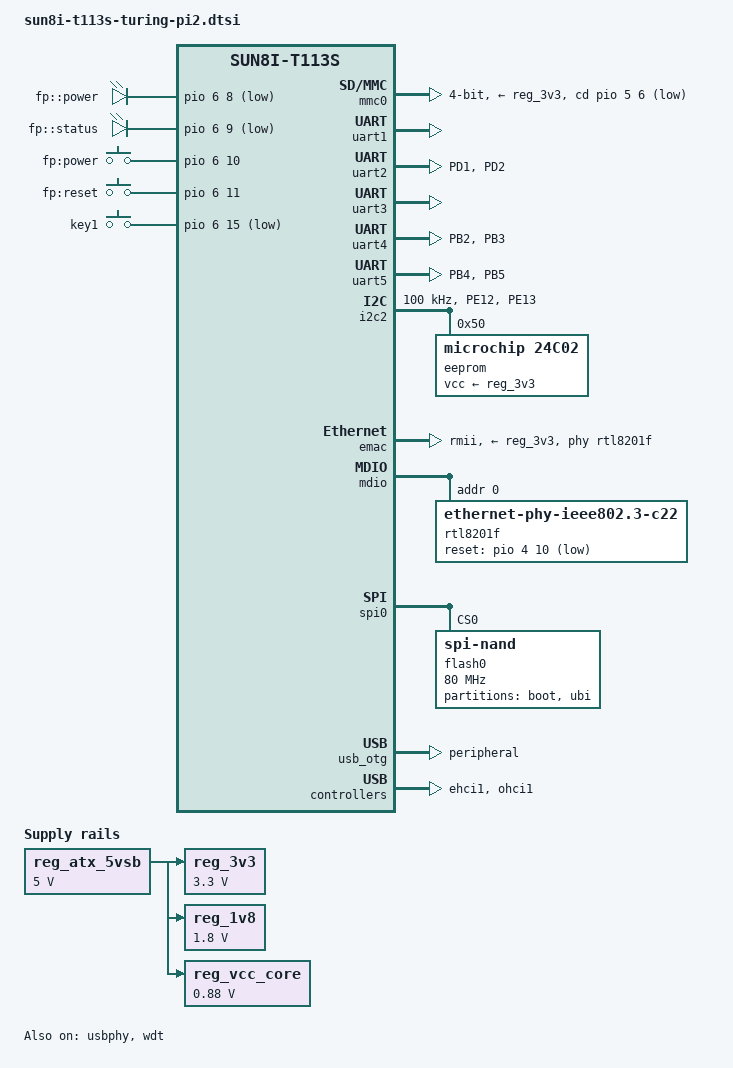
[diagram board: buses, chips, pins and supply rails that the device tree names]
// SPDX-License-Identifier: GPL-2.0+
// Copyright (C) 2023-2024 Sam Edwards <CFSworks@gmail.com>

/dts-v1/;

#ifdef __ASSEMBLY__
#define IS_UBOOT
#endif

#ifdef IS_UBOOT
#include "sun8i-t113s.dtsi"
#else
#include "allwinner/sun8i-t113s.dtsi"
#endif
#include <dt-bindings/gpio/gpio.h>
#include <dt-bindings/input/input.h>

/ {
	compatible = "turing,pi2", "allwinner,sun8i-t113s";

	aliases {
		ethernet0 = &emac;
		serial0 = &uart3;
		serial1 = &uart2;
		serial2 = &uart1;
		serial3 = &uart4;
		serial4 = &uart5;
		flash0 = &flash0;
	};

	// The LEDs are actually GPIO lines that go to the front-panel LEDs.
	leds {
		compatible = "gpio-leds";

		led-0 {
			label = "fp::power";
			gpios = <&pio 6 8 GPIO_ACTIVE_LOW>; /* PG8 */
		};

		led-1 {
			label = "fp::status";
			gpios = <&pio 6 9 GPIO_ACTIVE_LOW>; /* PG9 */
		};
	};

	keys {
		compatible = "gpio-keys";

		// Part of the front-panel connector
		button-power {
			label = "fp:power";
			linux,code = <KEY_POWER>;
			gpios = <&pio 6 10 GPIO_ACTIVE_HIGH>; /* PG10 */
		};

		button-reset {
			label = "fp:reset";
			linux,code = <KEY_RESTART>;
			gpios = <&pio 6 11 GPIO_ACTIVE_HIGH>; /* PG11 */
		};

		// Located on the board itself
		key-1 {
			label = "key1";
			linux,code = <KEY_1>;
			gpios = <&pio 6 15 GPIO_ACTIVE_LOW>; /* PG15 */
		};
	};

	reg_atx_5vsb: regulator-5v {
		compatible = "regulator-fixed";
		regulator-name = "atx-5vsb";
		regulator-min-microvolt = <5000000>;
		regulator-max-microvolt = <5000000>;
		regulator-always-on;
	};

	reg_3v3: regulator-3v3 {
		compatible = "regulator-fixed";
		regulator-name = "vcc-3v3";
		regulator-min-microvolt = <3300000>;
		regulator-max-microvolt = <3300000>;
		vin-supply = <&reg_atx_5vsb>;
	};

	reg_1v8: regulator-1v8 {
		compatible = "regulator-fixed";
		regulator-name = "vcc-1v8";
		regulator-min-microvolt = <1800000>;
		regulator-max-microvolt = <1800000>;
		vin-supply = <&reg_atx_5vsb>;
	};

	reg_vcc_core: regulator-core {
		compatible = "regulator-fixed";
		regulator-name = "vcc-core";
		regulator-min-microvolt = <880000>;
		regulator-max-microvolt = <880000>;
		vin-supply = <&reg_atx_5vsb>;
	};
};

&dcxo {
	clock-frequency = <24000000>;
};

&cpu0 {
	clock-frequency = <1008000000>;
	cpu-supply = <&reg_vcc_core>;
};

&cpu1 {
	clock-frequency = <1008000000>;
	cpu-supply = <&reg_vcc_core>;
};

&pio {
	vcc-pb-supply = <&reg_3v3>;
	vcc-pc-supply = <&reg_3v3>;
	vcc-pd-supply = <&reg_1v8>;
	vcc-pe-supply = <&reg_3v3>;
	vcc-pf-supply = <&reg_3v3>;
	vcc-pg-supply = <&reg_3v3>;

	i2c2_pe12_pins: i2c2-pe12-pins {
		pins = "PE12", "PE13";
		function = "i2c2";
		drive-strength = <10>;
	};

	uart2_pd_pins: uart2-pd-pins {
		pins = "PD1", "PD2";
		function = "uart2";
		bias-pull-up;
	};

	uart4_pb_pins: uart4-pb-pins {
		pins = "PB2", "PB3";
		function = "uart4";
		bias-pull-up;
	};

	uart5_pb_pins: uart5-pb-pins {
		pins = "PB4", "PB5";
		function = "uart5";
		bias-pull-up;
	};
};

&mmc0 {
	status = "okay";
	vmmc-supply = <&reg_3v3>;

	pinctrl-names = "default";
	pinctrl-0 = <&mmc0_pins>;

	bus-width = <4>;
	cd-gpios = <&pio 5 6 (GPIO_ACTIVE_LOW | GPIO_PULL_UP)>; /* PF6 */
	no-sdio;
};

&uart1_pg6_pins {
	bias-pull-up;
};

&uart1 {
	status = "okay";

	pinctrl-names = "default";
	pinctrl-0 = <&uart1_pg6_pins>;
};

&uart2 {
	status = "okay";

	pinctrl-names = "default";
	pinctrl-0 = <&uart2_pd_pins>;
};

&uart3_pb_pins {
	bias-pull-up;
};

&uart3 {
	status = "okay";

	pinctrl-names = "default";
	pinctrl-0 = <&uart3_pb_pins>;
};

&uart4 {
	status = "okay";

	pinctrl-names = "default";
	pinctrl-0 = <&uart4_pb_pins>;
};

&uart5 {
	status = "okay";

	pinctrl-names = "default";
	pinctrl-0 = <&uart5_pb_pins>;
};

&i2c2 {
	status = "okay";

	pinctrl-names = "default";
	pinctrl-0 = <&i2c2_pe12_pins>;

	clock-frequency = <100000>;

	eeprom@50 {
		compatible = "microchip,24c02", "atmel,24c02";
		reg = <0x50>;

		vcc-supply = <&reg_3v3>;

		pagesize = <16>;
	};
};

&emac {
	status = "okay";

	pinctrl-names = "default";
	pinctrl-0 = <&rmii_pe_pins>;

	phy-handle = <&rtl8201f>;
	phy-mode = "rmii";
	phy-supply = <&reg_3v3>;
	allwinner,tx-delay-ps = <300>;
	allwinner,rx-delay-ps = <0>;
};

&mdio {
	rtl8201f: ethernet-phy@0 {
		compatible = "ethernet-phy-ieee802.3-c22";
		reg = <0>;
		reset-gpios = <&pio 4 10 GPIO_ACTIVE_LOW>; /* PE10 */
	};
};

&spi0_pins {
	pins = "PC2", "PC3", "PC4", "PC5", "PC6", "PC7";
};

&spi0 {
	status = "okay";

	pinctrl-names = "default";
	pinctrl-0 = <&spi0_pins>;

	flash0: flash@0 {
		compatible = "spi-nand";
		reg = <0x0>;

		spi-max-frequency=<80000000>;
#ifndef IS_UBOOT
		spi-rx-bus-width=<4>;
		spi-tx-bus-width=<4>;
#endif

		partitions {
			compatible = "fixed-partitions";
			#address-cells = <1>;
			#size-cells = <1>;

			partition@0 {
				label = "boot";
				reg = <0x00000000 0x00100000>;
				read-only;
			};

			partition@100000 {
				label = "ubi";
				reg = <0x00100000 0x07f00000>;
			};
		};
	};
};

&usb_otg {
	dr_mode = "peripheral";
	status = "okay";
};

&ehci1 {
	status = "okay";
};

&ohci1 {
	status = "okay";
};

&usbphy {
	status = "okay";
};

&wdt {
	status = "okay";
};
